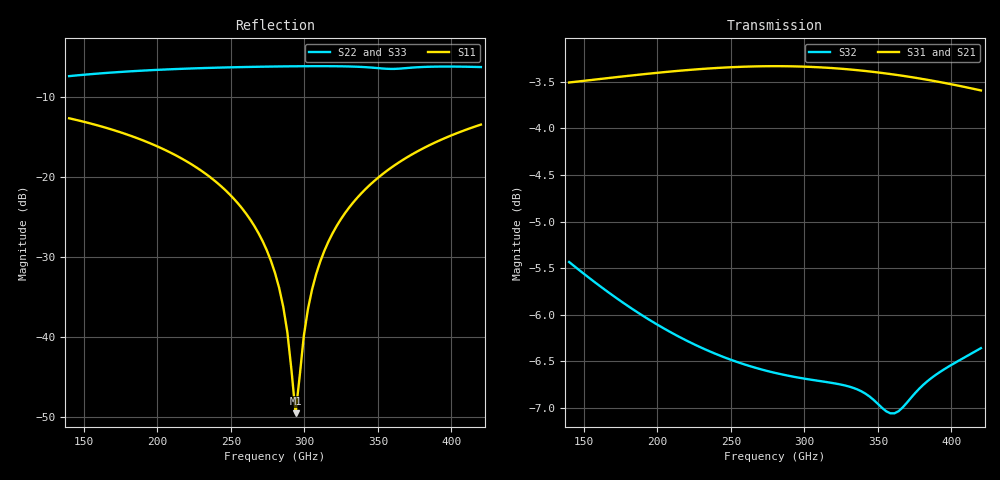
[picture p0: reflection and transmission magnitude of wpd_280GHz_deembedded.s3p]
! Created with skrf 2.2.0 (http://scikit-rf.org).
# GHz S DB R 50.0
! Port[1] = P1
! Port[2] = P2
! Port[3] = P3
!freq dBS11 angS11 dBS12 angS12 dBS13 angS13
! dBS21 angS21 dBS22 angS22 dBS23 angS23
! dBS31 angS31 dBS32 angS32 dBS33 angS33
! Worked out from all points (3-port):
!   101 points, 140 GHz to 420 GHz, reference 50 ohm
!   strongest paths, dB at 140 GHz, 210 GHz, 280 GHz, 350 GHz, 420 GHz:
!     S31: -3.5, -3.4, -3.3, -3.4, -3.6
!     S21: -3.5, -3.4, -3.3, -3.4, -3.6
!     S32: -5.4, -6.2, -6.6, -7.0, -6.4
!   lowest |S11| = -49.5 dB at 294 GHz (marker M1), VSWR 1.01, Z = 49.7 - j0.0144 ohm
!   |S11| at or under -10 dB: start of sweep to end of sweep
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140  -12.70 141.7  -3.52 -42.0  -3.51 -42.0
     -3.52 -42.0  -7.44 54.8  -5.43 -94.9
     -3.51 -42.0  -5.43 -94.9  -7.46 54.8
235.2  -19.96 116.4  -3.37 -71.8  -3.36 -71.8
       -3.37 -71.8  -6.41 11.9  -6.39 -150.6
       -3.36 -71.8  -6.39 -150.6  -6.43 11.9
263.2  -25.36 110.1  -3.35 -80.8  -3.34 -80.8
       -3.35 -80.8  -6.29 1.6  -6.55 -166.5
       -3.34 -80.8  -6.55 -166.5  -6.31 1.6
280  -32.01 109.3  -3.35 -86.2  -3.34 -86.2
     -3.35 -86.2  -6.24 -4.3  -6.62 -176.0
     -3.34 -86.2  -6.62 -176.0  -6.26 -4.3
288.4  -39.42 117.4  -3.35 -88.9  -3.34 -88.9
       -3.35 -88.9  -6.22 -7.1  -6.65 179.3
       -3.34 -88.9  -6.65 179.3  -6.24 -7.2
294  -49.54 -177.5  -3.35 -90.7  -3.34 -90.7
     -3.35 -90.7  -6.21 -9.1  -6.67 176.1
     -3.34 -90.7  -6.67 176.1  -6.23 -9.1
305.2  -34.08 -95.2  -3.35 -94.4  -3.34 -94.4
       -3.35 -94.4  -6.20 -12.9  -6.70 169.7
       -3.34 -94.4  -6.70 169.7  -6.22 -12.9
324.8  -25.30 -94.7  -3.37 -100.7  -3.36 -100.7
       -3.37 -100.7  -6.21 -19.7  -6.75 158.4
       -3.36 -100.7  -6.75 158.4  -6.23 -19.7
361.2  -18.59 -103.4  -3.44 -112.5  -3.43 -112.5
       -3.44 -112.5  -6.53 -30.3  -7.06 139.1
       -3.43 -112.5  -7.06 139.1  -6.56 -30.3
420  -13.49 -119.6  -3.61 -131.2  -3.60 -131.3
     -3.61 -131.2  -6.31 -51.0  -6.36 106.4
     -3.60 -131.3  -6.36 106.4  -6.33 -51.1
